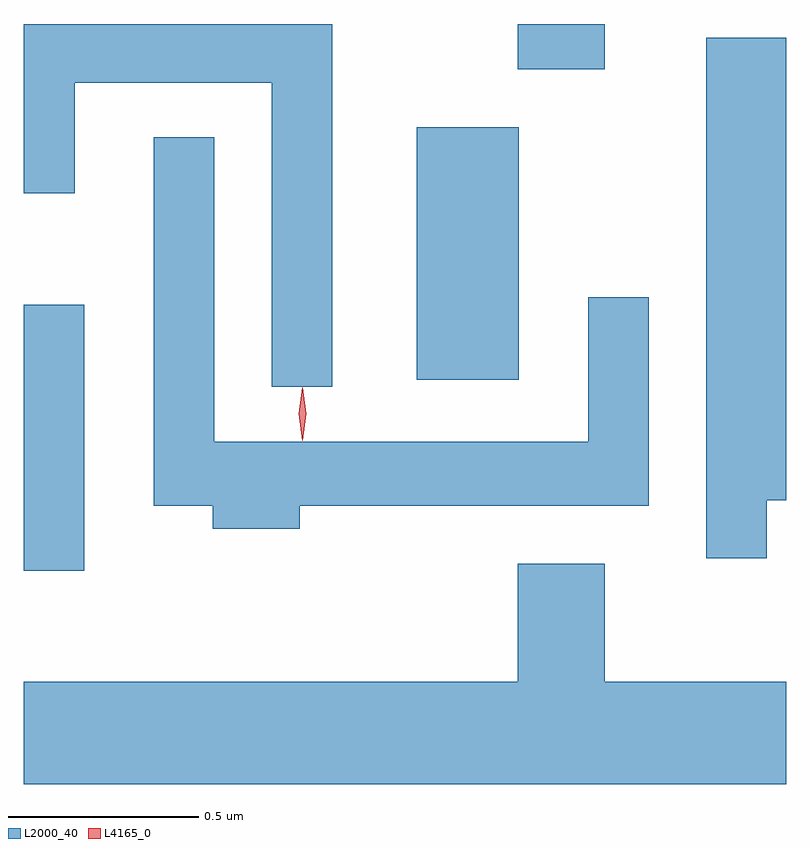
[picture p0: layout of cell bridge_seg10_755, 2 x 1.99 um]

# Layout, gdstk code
import gdstk
lib = gdstk.Library(unit=1e-6, precision=1e-09)
def R(c, l, rs):  # rectangles x0, y0, x1, y1
    for r in rs: c.add(gdstk.rectangle(r[:2], r[2:], *l))
def P(c, l, *ps):  # polygons
    for p in ps: c.add(gdstk.Polygon(p, *l))
L2000_40 = (2000, 40)
L4165_0 = (4165, 0)

bridge_seg10_755 = lib.new_cell('bridge_seg10_755')
R(bridge_seg10_755, L2000_40, [(1036.735,2134.456,1036.894,2135.154), (1037.766,2134.956,1038.034,2135.619), (1038.031,2135.771,1038.259,2135.89)])
P(bridge_seg10_755, L2000_40, [(1037.544,2135.89),(1036.735,2135.89),(1036.735,2135.446),(1036.869,2135.446),(1036.869,2135.736),(1037.386,2135.736),(1037.386,2134.938),(1037.544,2134.938)],
  [(1038.684,2134.641),(1038.735,2134.641),(1038.735,2135.854),(1038.526,2135.854),(1038.526,2134.488),(1038.684,2134.488)],
  [(1037.459,2134.626),(1038.374,2134.626),(1038.374,2135.173),(1038.216,2135.173),(1038.216,2134.794),(1037.234,2134.794),(1037.234,2135.593),(1037.076,2135.593),(1037.076,2134.626),(1037.231,2134.626),(1037.231,2134.566),(1037.459,2134.566)],
  [(1038.735,2134.164),(1038.259,2134.164),(1038.259,2134.474),(1038.031,2134.474),(1038.031,2134.164),(1036.735,2134.164),(1036.735,2133.896),(1038.735,2133.896)])
P(bridge_seg10_755, L4165_0, [(1037.466,2134.797),(1037.466,2134.798),(1037.456,2134.867),(1037.466,2134.936),(1037.466,2134.936),(1037.467,2134.936),(1037.476,2134.867),(1037.467,2134.798)])

lib.write_gds('bridge_seg10_755.gds')
